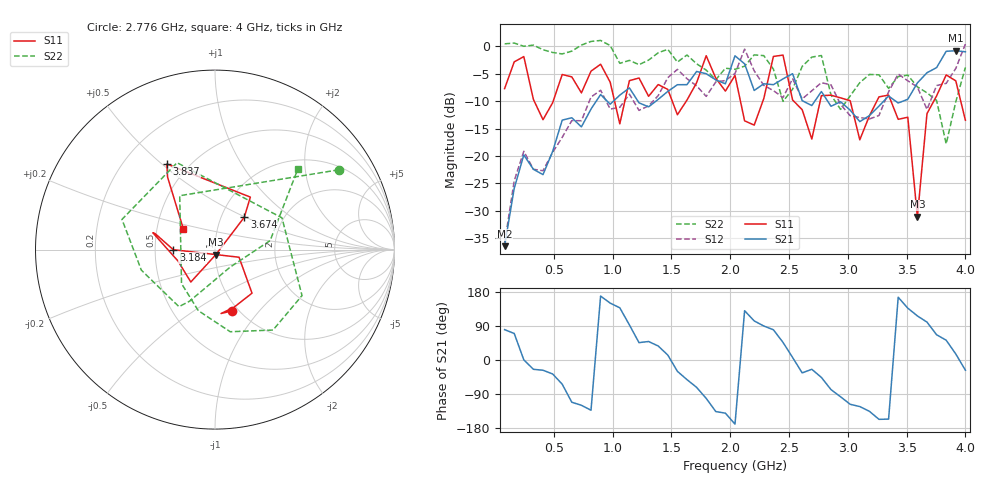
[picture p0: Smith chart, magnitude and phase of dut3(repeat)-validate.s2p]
!Created with skrf (http://scikit-rf.org).
# GHz S DB R 50.0
!freq dBS11 angS11 dBS21 angS21 dBS12 angS12 dBS22 angS22
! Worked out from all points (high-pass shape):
!   49 points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, 82.61 MHz to 4 GHz, reference 50 ohm
!   highest |S21| = -0.83 dB at 3.918 GHz (marker M1); lowest = -36.4 dB at 82.61 MHz (marker M2)
!   |S21| within 3 dB of the highest: 2.008 GHz to 2.133 GHz (125.2 MHz wide, 6.05 % of centre); 3.757 GHz to end of sweep
!   lowest |S11| = -31.1 dB at 3.592 GHz (marker M3), VSWR 1.06, Z = 50.4 - j2.78 ohm
!   |S11| at or under -10 dB: 334.3 MHz to 495.7 MHz (161.4 MHz wide, 38.9 % of centre); 2.087 GHz to 2.278 GHz (190.9 MHz wide, 8.74 % of centre); 3.367 GHz to 3.731 GHz (364 MHz wide, 10.3 % of centre) (the widest 3 of 8)
!   |S22| runs from -17.8 to 1.0 dB; largest |S21 - S12| = 0.49
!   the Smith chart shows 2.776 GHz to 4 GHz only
!   S11 on the Smith chart (normalised r, x): 2.776 GHz: 0.93, -0.73; 3.184 GHz: 0.62, -0.00; 3.674 GHz: 1.28, +0.49; 3.837 GHz: 0.38, +0.52; 4 GHz: 0.68, +0.17
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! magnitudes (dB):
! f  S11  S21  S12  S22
! 82.61 MHz  -7.7  -36.4  -35.9  0.4
! 245.8 MHz  -1.9  -19.8  -19.1  0.0
! 409.1 MHz  -13.4  -23.4  -22.7  -0.7
! 735.5 MHz  -8.5  -14.7  -13.6  0.2
! 898.7 MHz  -3.3  -8.8  -8.0  1.0
! 1.062 GHz  -14.1  -8.9  -11.1  -3.1
! 1.144 GHz  -6.3  -7.6  -8.7  -2.6
! 1.388 GHz  -7.0  -9.7  -9.0  -1.2
! 2.041 GHz  -5.3  -1.8  -5.0  -4.2
! 2.205 GHz  -14.4  -8.1  -4.5  -1.6
! 2.449 GHz  -1.6  -6.0  -9.4  -10.1
! 2.694 GHz  -16.9  -10.8  -8.1  -2.0
! 2.776 GHz  -9.0  -8.3  -6.6  -1.7
! 2.939 GHz  -9.4  -10.1  -10.6  -11.5
! 3.184 GHz  -12.7  -12.7  -13.3  -5.2
! 3.429 GHz  -13.3  -10.3  -5.1  -5.5
! 3.51 GHz  -12.9  -9.7  -6.3  -5.3
! 3.592 GHz  -31.1  -6.7  -7.4  -7.4
! 3.674 GHz  -12.3  -4.8  -11.5  -8.5
! 3.837 GHz  -5.2  -0.9  -6.8  -17.8
! 3.918 GHz  -6.3  -0.8  -4.0  -10.1
! 4 GHz  -13.5  -1.0  0.4  -3.9
